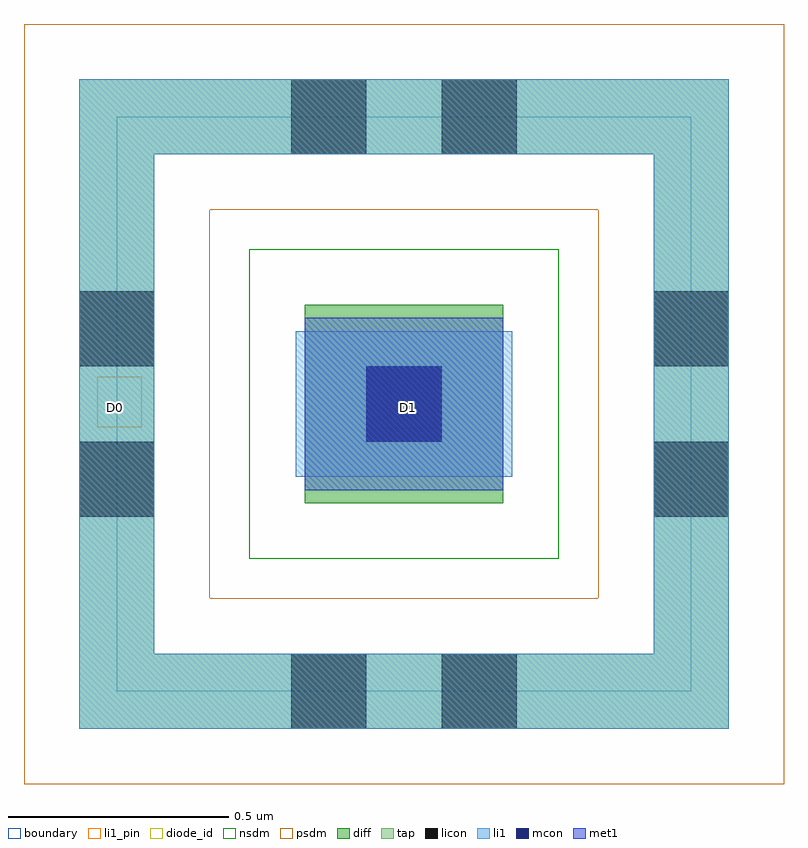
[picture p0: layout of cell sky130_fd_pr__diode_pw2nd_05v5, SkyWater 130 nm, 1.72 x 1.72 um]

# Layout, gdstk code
import gdstk
lib = gdstk.Library(unit=1e-6, precision=1e-09)
def R(c, l, rs):  # rectangles x0, y0, x1, y1
    for r in rs: c.add(gdstk.rectangle(r[:2], r[2:], *l))
diff = (65, 20)
tap = (65, 44)
licon = (66, 44)
li1_pin = (67, 16)
li1 = (67, 20)
mcon = (67, 44)
met1 = (68, 20)
diode_id = (81, 23)
nsdm = (93, 44)
psdm = (94, 20)
boundary = (235, 4)

sky130_fd_pr__diode_pw2n = lib.new_cell('sky130_fd_pr__diode_pw2nd_05v5')
R(sky130_fd_pr__diode_pw2n, diff, [(-8.01,-2.43,-7.56,-1.98)])
R(sky130_fd_pr__diode_pw2n, tap, [(-8.52,-2.94,-7.05,-2.77), (-8.52,-2.77,-8.35,-1.64), (-7.22,-2.77,-7.05,-1.64), (-8.52,-1.64,-7.05,-1.47)])
R(sky130_fd_pr__diode_pw2n, licon, [(-8.04,-2.94,-7.87,-2.77), (-7.7,-2.94,-7.53,-2.77), (-8.52,-2.46,-8.35,-2.29), (-7.22,-2.46,-7.05,-2.29), (-7.87,-2.29,-7.7,-2.12), (-8.52,-2.12,-8.35,-1.95), (-7.22,-2.12,-7.05,-1.95), (-8.04,-1.64,-7.87,-1.47), (-7.7,-1.64,-7.53,-1.47)])
R(sky130_fd_pr__diode_pw2n, li1_pin, [(-7.816,-2.26,-7.715,-2.145), (-8.479,-2.258,-8.378,-2.143)])
R(sky130_fd_pr__diode_pw2n, li1, [(-8.52,-2.94,-7.05,-2.77), (-8.52,-2.77,-8.35,-1.64), (-7.22,-2.77,-7.05,-1.64), (-8.03,-2.37,-7.54,-2.04), (-8.52,-1.64,-7.05,-1.47)])
R(sky130_fd_pr__diode_pw2n, mcon, [(-7.87,-2.29,-7.7,-2.12)])
R(sky130_fd_pr__diode_pw2n, met1, [(-8.01,-2.4,-7.56,-2.01)])
R(sky130_fd_pr__diode_pw2n, diode_id, [(-8.01,-2.43,-7.56,-1.98)])
R(sky130_fd_pr__diode_pw2n, nsdm, [(-8.135,-2.555,-7.435,-1.855)])
R(sky130_fd_pr__diode_pw2n, psdm, [(-8.645,-3.065,-6.925,-2.645), (-8.645,-2.645,-8.225,-1.765), (-7.345,-2.645,-6.925,-1.765), (-8.645,-1.765,-6.925,-1.345)])
R(sky130_fd_pr__diode_pw2n, boundary, [(-8.435,-2.855,-7.135,-1.555)])
sky130_fd_pr__diode_pw2n.add(gdstk.Label('D0', (-8.438,-2.212), layer=67, texttype=5))
sky130_fd_pr__diode_pw2n.add(gdstk.Label('D1', (-7.775,-2.214), layer=67, texttype=5))

lib.write_gds('sky130_fd_pr__diode_pw2nd_05v5.gds')
